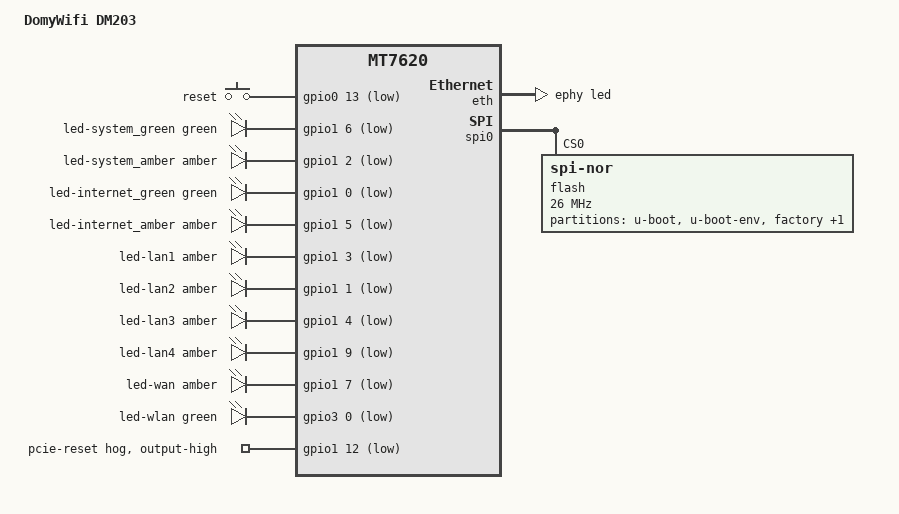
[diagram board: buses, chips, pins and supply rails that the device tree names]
// SPDX-License-Identifier: GPL-2.0-or-later

/dts-v1/;

#include "mt7620.dtsi"

#include <dt-bindings/gpio/gpio.h>
#include <dt-bindings/input/input.h>
#include <dt-bindings/leds/common.h>

/ {
	compatible = "domywifi,dm203", "mediatek,mt7620-soc";
	model = "DomyWifi DM203";

	/delete-node/ clock-48m;
	/delete-node/ serial@10000500;
	/delete-node/ watchdog@10000120;
	/delete-node/ usb-phy;
	/delete-node/ ehci@101c0000;
	/delete-node/ mmc@10130000;

	aliases {
		serial0 = &uartlite;
		spi0 = &spi0;
	};

	chosen {
		stdout-path = "serial0:115200n8";
	};

	gpio-keys {
		compatible = "gpio-keys";

		button-reset {
			label = "reset";
			linux,code = <KEY_RESTART>;
			gpios = <&gpio0 13 GPIO_ACTIVE_LOW>;
		};
	};

	gpio-leds {
		compatible = "gpio-leds";

		led-system_green {
			color = <LED_COLOR_ID_GREEN>;
			function = LED_FUNCTION_STATUS;
			gpios = <&gpio1 6 GPIO_ACTIVE_LOW>;
			default-state = "on";
		};

		led-system_amber {
			color = <LED_COLOR_ID_AMBER>;
			function = LED_FUNCTION_STATUS;
			gpios = <&gpio1 2 GPIO_ACTIVE_LOW>;
			default-state = "off";
		};

		led-internet_green {
			color = <LED_COLOR_ID_GREEN>;
			function = "internet";
			gpios = <&gpio1 0 GPIO_ACTIVE_LOW>;
			default-state = "off";
		};

		led-internet_amber {
			color = <LED_COLOR_ID_AMBER>;
			function = "internet";
			gpios = <&gpio1 5 GPIO_ACTIVE_LOW>;
			default-state = "off";
		};

		led-lan1 {
			color = <LED_COLOR_ID_AMBER>;
			function = LED_FUNCTION_LAN;
			function-enumerator = <1>;
			gpios = <&gpio1 3 GPIO_ACTIVE_LOW>;
			default-state = "off";
		};

		led-lan2 {
			color = <LED_COLOR_ID_AMBER>;
			function = LED_FUNCTION_LAN;
			function-enumerator = <2>;
			gpios = <&gpio1 1 GPIO_ACTIVE_LOW>;
			default-state = "off";
		};

		led-lan3 {
			color = <LED_COLOR_ID_AMBER>;
			function = LED_FUNCTION_LAN;
			function-enumerator = <3>;
			gpios = <&gpio1 4 GPIO_ACTIVE_LOW>;
			default-state = "off";
		};

		led-lan4 {
			color = <LED_COLOR_ID_AMBER>;
			function = LED_FUNCTION_LAN;
			function-enumerator = <4>;
			gpios = <&gpio1 9 GPIO_ACTIVE_LOW>;
			default-state = "off";
		};

		led-wan {
			color = <LED_COLOR_ID_AMBER>;
			function = LED_FUNCTION_WAN;
			gpios = <&gpio1 7 GPIO_ACTIVE_LOW>;
			default-state = "off";
		};

		led-wlan {
			color = <LED_COLOR_ID_GREEN>;
			function = LED_FUNCTION_WLAN;
			gpios = <&gpio3 0 GPIO_ACTIVE_LOW>;
			default-state = "off";
		};
	};

	options {
		u-boot {
			compatible = "u-boot,config";
			boot-btn1 = "reset";
			boot-led1 = "green:status";
			boot-led2 = "amber:status";
			bootcmd_1-1 = "tftp_boot_ik";
			bootcmd_1-2 = "tftp_update_fw";
			bootcmd_1-3 = "switch_console";
			bootcmd_1-4 = "env init";
		};
	};
};

&eth {
	pinctrl-names = "default";
	pinctrl-0 = <&ephy_leds>;
};

&gpio1 {
	pcie-reset {
		gpio-hog;
		gpios = <12 GPIO_ACTIVE_LOW>;
		output-high;
	};
};

&pinctrl {
	pinctrl-0 = <&state_default>, <&sd_pins>;

	/delete-node/ nand_pins;
	/delete-node/ spi_dual_pins;
	/delete-node/ uartf_pins;
	/delete-node/ uartf_pcm_pins;
	/delete-node/ uartf_i2s_pins;
	/delete-node/ uartf_gpio_pins;

	ephy_leds: ephy_leds {
		groups = "ephy led";
		function = "led";
	};
};

&spi0 {
	flash@0 {
		compatible = "jedec,spi-nor";
		reg = <0>;
		spi-max-frequency = <26000000>;

		partitions {
			compatible = "fixed-partitions";
			#address-cells = <1>;
			#size-cells = <1>;

			partition@0 {
				label = "u-boot";
				reg = <0x00000 0x30000>;
			};

			partition@30000 {
				label = "u-boot-env";
				reg = <0x30000 0x10000>;
			};

			partition@40000 {
				label = "factory";
				reg = <0x40000 0x10000>;
			};

			partition@50000 {
				label = "firmware";
				reg = <0x50000 0x00000>;
			};
		};
	};
};

&state_default {
	gpios {
		groups = "i2c", "uartf", "mdio", "rgmii1", "rgmii2", "perst", \
			 "pa", "wdt rst", "wled";
		function = "gpio";
	};
};
